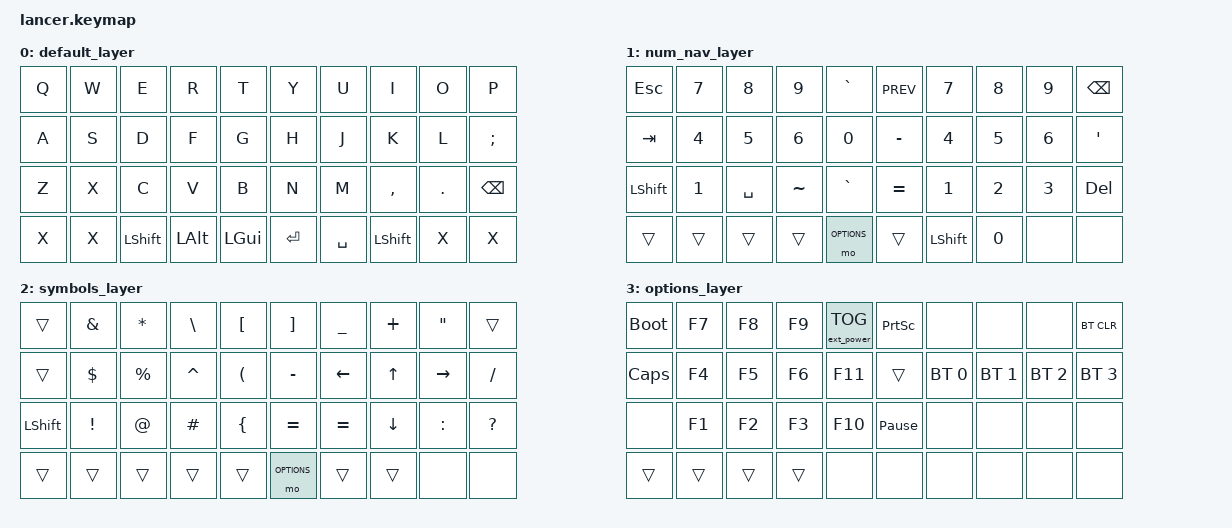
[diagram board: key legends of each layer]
#include <behaviors.dtsi>
#include <dt-bindings/zmk/keys.h>
#include <dt-bindings/zmk/bt.h>
#include <dt-bindings/zmk/ext_power.h>

#define DEFAULT 0
#define NUM_NAV 1
#define SYMBOLS 2
#define OPTIONS 3

#define PAUSE PAUSE_BREAK
#define BT_0 BT_SEL 0
#define BT_1 BT_SEL 1
#define BT_2 BT_SEL 2
#define BT_3 BT_SEL 3

/ {
    combos {
        compatible = "zmk,combos";
        combo_numnav {
            timeout-ms = <50>;
            key-positions = <30 31>;
            bindings = <&mo NUM_NAV>;
        };
	combo_symbols {
            timeout-ms = <50>;
            key-positions = <34 35>;
            bindings = <&mo SYMBOLS>;
        };

    };
};


/ {
    keymap {
        compatible = "zmk,keymap";

        default_layer {
            bindings = <
                &kp Q       &kp W       &kp E       &kp R       &kp T       &kp Y       &kp U       &kp I       &kp O       &kp P
                &kp A       &kp S       &kp D       &kp F       &kp G       &kp H       &kp J       &kp K       &kp L       &kp SEMI
                &kp Z       &kp X       &kp C       &kp V       &kp B       &kp N       &kp M       &kp COMMA   &kp DOT     &kp BSPC
                &kp X       &kp X       &kp LSHFT   &kp LALT    &kp LGUI    &kp ENTER   &kp SPACE   &kp LSHFT   &kp X       &kp X       
            >;
        };

        num_nav_layer { 
            bindings = <
                &kp ESC     &kp N7      &kp N8      &kp N9      &kp GRAVE    &kp C_PREV   &kp N7      &kp N8      &kp N9      &kp BSPC
                &kp TAB     &kp N4      &kp N5      &kp N6      &kp N0       &kp MINUS    &kp N4      &kp N5      &kp N6      &kp SQT
                &kp LSHFT   &kp N1      &kp SPACE   &kp TILDE   &kp GRAVE    &kp EQUAL    &kp N1      &kp N2      &kp N3      &kp DEL
                &trans      &trans      &trans      &trans      &mo OPTIONS  &trans       &kp LSHFT   &kp N0      &none       &none       
            >;
        };

        symbols_layer {
            bindings = <
                &trans      &kp AMPS    &kp ASTRK   &kp BSLH    &kp LBKT    &kp RBKT    &kp UNDER   &kp PLUS    &kp DQT     &trans
                &trans      &kp DLLR    &kp PRCNT   &kp CARET   &kp LPAR    &kp MINUS   &kp LEFT    &kp UP      &kp RIGHT   &kp SLASH
                &kp LSHFT   &kp EXCL    &kp AT      &kp HASH    &kp LBRC    &kp EQUAL   &kp EQUAL   &kp DOWN    &kp COLON   &kp QMARK
                &trans      &trans      &trans      &trans      &trans      &mo OPTIONS   &trans      &trans	&none       &none       
            >;
        };

        options_layer {
            bindings = <
                &bootloader &kp F7      &kp F8      &kp F9      &ext_power EP_TOG   &kp PSCRN   &none       &none       &none       &bt BT_CLR
                &kp CAPS    &kp F4      &kp F5      &kp F6      &kp F11             &trans      &bt BT_0    &bt BT_1    &bt BT_2    &bt BT_3
                &none       &kp F1      &kp F2      &kp F3      &kp F10             &kp PAUSE   &none       &none       &none       &none
                &trans      &trans      &trans      &trans      &none               &none       &none       &none	&none       &none            >;
        };
    };  
};
